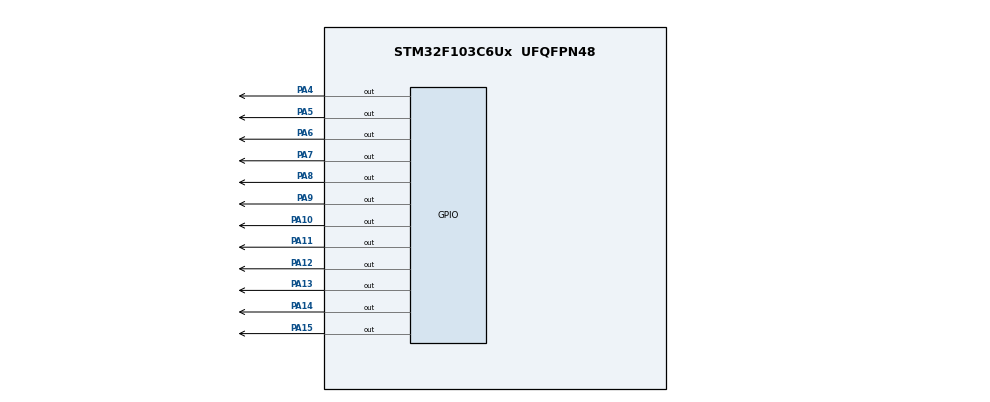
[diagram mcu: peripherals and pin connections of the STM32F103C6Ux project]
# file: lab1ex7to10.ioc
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Mcu.Family=STM32F1
Mcu.Name=STM32F103C6Ux
Mcu.Package=UFQFPN48
NVIC.PriorityGroup=NVIC_PRIORITYGROUP_4
PA10.Signal=GPIO_Output
PA11.Signal=GPIO_Output
PA12.Signal=GPIO_Output
PA13.Signal=GPIO_Output
PA14.Signal=GPIO_Output
PA15.Signal=GPIO_Output
PA4.Signal=GPIO_Output
PA5.Signal=GPIO_Output
PA6.Signal=GPIO_Output
PA7.Signal=GPIO_Output
PA8.Signal=GPIO_Output
PA9.Signal=GPIO_Output
ProjectManager.HeapSize=0x200
ProjectManager.StackSize=0x400
ProjectManager.TargetToolchain=STM32CubeIDE
RCC.APB1Freq_Value=8000000
RCC.APB2Freq_Value=8000000
VP_SYS_VS_ND.Mode=No_Debug
board=custom

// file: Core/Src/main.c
/* USER CODE BEGIN Header */
/**
  ******************************************************************************
  * @file           : main.c
  * @brief          : Main program body
  ******************************************************************************
  * @attention
  *
  * <h2><center>&copy; Copyright (c) 2026 STMicroelectronics.
  * All rights reserved.</center></h2>
  *
  * This software component is licensed by ST under BSD 3-Clause license,
  * the "License"; You may not use this file except in compliance with the
  * License. You may obtain a copy of the License at:
  *                        opensource.org/licenses/BSD-3-Clause
  *
  ******************************************************************************
  */
/* USER CODE END Header */
#include "main.h"

void SystemClock_Config(void);
static void MX_GPIO_Init(void);

/* USER CODE BEGIN 0 */
uint16_t clock_leds[12] = {
    GPIO_PIN_15, GPIO_PIN_4, GPIO_PIN_5, GPIO_PIN_6,
    GPIO_PIN_7, GPIO_PIN_8, GPIO_PIN_9, GPIO_PIN_10,
    GPIO_PIN_11, GPIO_PIN_12, GPIO_PIN_13, GPIO_PIN_14
};

void clearAllClock() {
    HAL_GPIO_WritePin(GPIOA,
        GPIO_PIN_4|GPIO_PIN_5|GPIO_PIN_6|GPIO_PIN_7|
        GPIO_PIN_8|GPIO_PIN_9|GPIO_PIN_10|GPIO_PIN_11|
        GPIO_PIN_12|GPIO_PIN_13|GPIO_PIN_14|GPIO_PIN_15,
        GPIO_PIN_RESET);
}

void setNumberOnClock(int num) {
    if (num >= 0 && num <= 11) {
        HAL_GPIO_WritePin(GPIOA, clock_leds[num], GPIO_PIN_SET);
    }
}

void clearNumberOnClock(int num) {
    if (num >= 0 && num <= 11) {
        HAL_GPIO_WritePin(GPIOA, clock_leds[num], GPIO_PIN_RESET);
    }
}
/* USER CODE END 0 */

int main(void)
{

  /* MCU Configuration--------------------------------------------------------*/

  /* Reset of all peripherals, Initializes the Flash interface and the Systick. */
  HAL_Init();

  /* Configure the system clock */
  SystemClock_Config();

  /* Initialize all configured peripherals */
  MX_GPIO_Init();
  /* USER CODE BEGIN 2 */
  int sec = 0;
  int min = 0;
  int hour = 0;
  /* USER CODE END 2 */

  /* Infinite loop */
  while (1)
  {

    /* USER CODE BEGIN 3 */

    clearAllClock();

    setNumberOnClock(hour);
    setNumberOnClock(min);
    setNumberOnClock(sec);
    sec++;
    if (sec >= 12) {
        sec = 0;
        min++;
        if (min >= 60) {
            min = 0;
            hour++;
            if (hour >= 12) {
                hour = 0;
            }
        }
    }

    HAL_Delay(1000);
  }
  /* USER CODE END 3 */
}

void SystemClock_Config(void)
{
  RCC_OscInitTypeDef RCC_OscInitStruct = {0};
  RCC_ClkInitTypeDef RCC_ClkInitStruct = {0};

  /** Initializes the RCC Oscillators according to the specified parameters
  * in the RCC_OscInitTypeDef structure.
  */
  RCC_OscInitStruct.OscillatorType = RCC_OSCILLATORTYPE_HSI;
  RCC_OscInitStruct.HSIState = RCC_HSI_ON;
  RCC_OscInitStruct.HSICalibrationValue = RCC_HSICALIBRATION_DEFAULT;
  RCC_OscInitStruct.PLL.PLLState = RCC_PLL_NONE;
  if (HAL_RCC_OscConfig(&RCC_OscInitStruct) != HAL_OK)
  {
    Error_Handler();
  }
  /** Initializes the CPU, AHB and APB buses clocks
  */
  RCC_ClkInitStruct.ClockType = RCC_CLOCKTYPE_HCLK|RCC_CLOCKTYPE_SYSCLK
                              |RCC_CLOCKTYPE_PCLK1|RCC_CLOCKTYPE_PCLK2;
  RCC_ClkInitStruct.SYSCLKSource = RCC_SYSCLKSOURCE_HSI;
  RCC_ClkInitStruct.AHBCLKDivider = RCC_SYSCLK_DIV1;
  RCC_ClkInitStruct.APB1CLKDivider = RCC_HCLK_DIV1;
  RCC_ClkInitStruct.APB2CLKDivider = RCC_HCLK_DIV1;

  if (HAL_RCC_ClockConfig(&RCC_ClkInitStruct, FLASH_LATENCY_0) != HAL_OK)
  {
    Error_Handler();
  }
}

static void MX_GPIO_Init(void)
{
  GPIO_InitTypeDef GPIO_InitStruct = {0};

  /* GPIO Ports Clock Enable */
  __HAL_RCC_GPIOA_CLK_ENABLE();

  /*Configure GPIO pin Output Level */
  HAL_GPIO_WritePin(GPIOA, GPIO_PIN_4|GPIO_PIN_5|GPIO_PIN_6|GPIO_PIN_7
                          |GPIO_PIN_8|GPIO_PIN_9|GPIO_PIN_10|GPIO_PIN_11
                          |GPIO_PIN_12|GPIO_PIN_13|GPIO_PIN_14|GPIO_PIN_15, GPIO_PIN_RESET);

  /*Configure GPIO pins : PA4 PA5 PA6 PA7
                           PA8 PA9 PA10 PA11
                           PA12 PA13 PA14 PA15 */
  GPIO_InitStruct.Pin = GPIO_PIN_4|GPIO_PIN_5|GPIO_PIN_6|GPIO_PIN_7
                          |GPIO_PIN_8|GPIO_PIN_9|GPIO_PIN_10|GPIO_PIN_11
                          |GPIO_PIN_12|GPIO_PIN_13|GPIO_PIN_14|GPIO_PIN_15;
  GPIO_InitStruct.Mode = GPIO_MODE_OUTPUT_PP;
  GPIO_InitStruct.Pull = GPIO_NOPULL;
  GPIO_InitStruct.Speed = GPIO_SPEED_FREQ_LOW;
  HAL_GPIO_Init(GPIOA, &GPIO_InitStruct);

}

void Error_Handler(void)
{
  __disable_irq();
  while (1)
  {
  }
}

/************************ (C) COPYRIGHT STMicroelectronics *****END OF FILE****/
